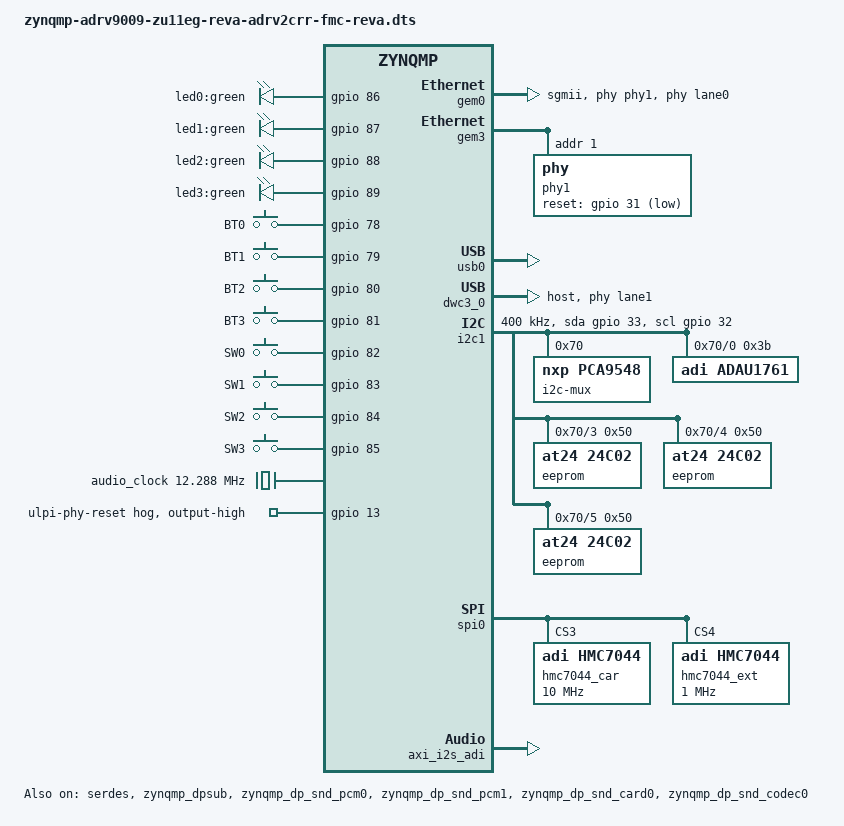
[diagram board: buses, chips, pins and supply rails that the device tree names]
// SPDX-License-Identifier: GPL-2.0
/*
 * ADRV2CRR-FMC using ADRV9009-ZU11EG System on Module
 *
 * https://wiki.analog.com/resources/eval/user-guides/adrv9009
 * https://wiki.analog.com/resources/tools-software/linux-drivers/iio-transceiver/adrv9009
 * https://wiki.analog.com/resources/tools-software/linux-software/adrv9009_advanced_plugin
 * https://wiki.analog.com/resources/eval/user-guides/adrv9009-zu11eg/adrv2crr-fmc_carrier_board
 *
 * hdl_project: <adrv9009zu11eg/adrv2crr_fmc>
 * board_revision: <A>
 *
 * Copyright (C) 2019 Analog Devices Inc.
 */

/*
 * FPGA Signal                GPIO#
 * hmc7044_car_gpio_3,  27    105
 * hmc7044_car_gpio_2,  26    104
 * hmc7044_car_gpio_1,  25    103
 * hmc7044_car_gpio_0,  24    102
 * hmc7044_car_reset,   23    101
 * resetb_ad9545,       22    100
 * fan_tach,            21    99
 * fan_pwrm,            20    98
 * pmod0_d7,            19    97
 * pmod0_d6,            18    96
 * pmod0_d5,            17    95
 * pmod0_d4,            16    94
 * pmod0_d3,            15    93
 * pmod0_d2,            14    92
 * pmod0_d1,            13    91
 * pmod0_d0,            12    90
 * led_gpio_3,          11    89
 * led_gpio_2,          10    88
 * led_gpio_1,          9     87
 * led_gpio_0,          8     86
 * dip_gpio_3,          7     85
 * dip_gpio_2,          6     84
 * dip_gpio_1,          5     83
 * dip_gpio_0,          4     82
 * pb_gpio_3,           3     81
 * pb_gpio_2,           2     80
 * pb_gpio_1,           1     79
 * pb_gpio_0}));        0     78
 */

#include "zynqmp-adrv9009-zu11eg-reva.dtsi"

/ {
	leds {
		compatible = "gpio-leds";
		led0 {
			label = "led0:green";
			gpios = <&gpio 86 0>;
		};

		led1 {
			label = "led1:green";
			gpios = <&gpio 87 0>;
		};

		led2 {
			label = "led2:green";
			gpios = <&gpio 88 0>;
		};

		led3 {
			label = "led3:green";
			gpios = <&gpio 89 0>;
		};
	};

	gpio_keys {
		compatible = "gpio-keys";
		#address-cells = <1>;
		#size-cells = <0>;
		autorepeat;

		bt0 {
			label = "BT0";
			linux,code = <KEY_LEFT>;
			gpios = <&gpio 78 0>;
		};

		bt1 {
			label = "BT1";
			linux,code = <KEY_RIGHT>;
			gpios = <&gpio 79 0>;
		};

		bt2 {
			label = "BT2";
			linux,code = <KEY_ENTER>;
			gpios = <&gpio 80 0>;
		};

		bt3 {
			label = "BT3";
			linux,code = <KEY_ESC>;
			gpios = <&gpio 81 0>;
		};

		sw0 {
			label = "SW0";
			linux,input-type = <EV_SW>;
			linux,code = <SW_LID>;
			gpios = <&gpio 82 0>;
		};

		sw1 {
			label = "SW1";
			linux,input-type = <EV_SW>;
			linux,code = <SW_TABLET_MODE>;
			gpios = <&gpio 83 0>;
		};

		sw2 {
			label = "SW2";
			linux,input-type = <EV_SW>;
			linux,code = <SW_HEADPHONE_INSERT>;
			gpios = <&gpio 84 0>;
		};

		sw3 {
			label = "SW3";
			linux,input-type = <EV_SW>;
			linux,code = <SW_RFKILL_ALL>;
			gpios = <&gpio 85 0>;
		};
	};

	audio_clock: audio_clock {
		compatible = "fixed-clock";
		#clock-cells = <0>;
		clock-frequency = <12288000>;
	};

	talise_sound {
		compatible = "simple-audio-card";
		simple-audio-card,name = "ADRV9009 ZU11EG ADAU1761";
		simple-audio-card,widgets =
			"Microphone", "Mic In",
			"Headphone", "Headphone Out",
			"Line", "Line In",
			"Line", "Line Out";
		simple-audio-card,routing =
			"Line Out", "LOUT",
			"Line Out", "ROUT",
			"Headphone Out", "LHP",
			"Headphone Out", "RHP",
			"Mic In", "MICBIAS",
			"LINN", "Mic In",
			"RINN", "Mic In",
			"LAUX", "Line In",
			"RAUX", "Line In";

		simple-audio-card,dai-link@0 {
			format = "i2s";
			cpu {
				sound-dai = <&axi_i2s_adi>;
				frame-master;
				bitclock-master;
			};
			codec {
				sound-dai = <&adau1761>;
			};
		};
	};
};

&serdes {
	status = "okay";
};


/*
 * SGMII Ethernet: M1 (PHY1)
 * Using gem0, GTR Lane0
 */

&gem0 {
	status = "okay";
	phy-handle = <&phy1>;
	phy-mode = "sgmii";
	phys = <&lane0 PHY_TYPE_SGMII 0 1 125000000>;
};

&gem3 {
	phy1: phy@1 {
		device_type = "ethernet-phy";
		reg = <1>;
		reset-gpios = <&gpio 31 GPIO_ACTIVE_LOW>;
	};
};
/*
 * DisplayPort: P2
 * Using: GTR Lane3, Lane2
 */

&zynqmp_dpsub {
	status = "okay";
	phy-names = "dp-phy0", "dp-phy1";
	phys = <&lane3 PHY_TYPE_DP 0 2 27000000>,
		<&lane2 PHY_TYPE_DP 1 2 27000000>;
};

&zynqmp_dp_snd_pcm0 {
	status = "okay";
};

&zynqmp_dp_snd_pcm1 {
	status = "okay";
};

&zynqmp_dp_snd_card0 {
	status = "okay";
};

&zynqmp_dp_snd_codec0 {
	status = "okay";
};

&xlnx_dpdma {
	status = "okay";
};

/*
 * USB 2.0 & 3.0
 * Using: usb0, dwc3_0 on GTR Lane1
 */

&usb0 {
	status = "okay";
	pinctrl-names = "default";
	pinctrl-0 = <&pinctrl_usb0_default>;
};

&dwc3_0 {
	status = "okay";
	dr_mode = "host";
	phy-names = "usb3-phy";
	//snps,usb3_lpm_capable;
	phys = <&lane1 PHY_TYPE_USB3 0 3 26000000>;
	maximum-speed = "super-speed";
};

&gpio {
	phy_reset {
		gpio-hog;
		gpios = <13 0>;
		output-high;
		line-name = "ulpi-phy-reset";
	};
};

&hmc7044 {
	clocks = <&hmc7044_car 2>;
	clock-names = "clkin1";
};

/*
 * I2C1
 */

&i2c1 {
	status = "okay";
	clock-frequency = <400000>;
	pinctrl-names = "gpio";
	pinctrl-0 = <&pinctrl_i2c1_gpio>;
	scl-gpios = <&gpio 32 GPIO_ACTIVE_HIGH>;
	sda-gpios = <&gpio 33 GPIO_ACTIVE_HIGH>;

	i2c-mux@70 { /* u19 */
		compatible = "nxp,pca9548"; /* TCA9548 */
		#address-cells = <1>;
		#size-cells = <0>;
		reg = <0x70>;

		i2c@0 { /* Audio ADAU1761 */
			#address-cells = <1>;
			#size-cells = <0>;
			reg = <0>;

			adau1761: adau1761@3b {
				compatible = "adi,adau1761";
				reg = <0x3b>;

				clocks = <&audio_clock>;
				clock-names = "mclk";

				#sound-dai-cells = <0>;
			};

		};
		i2c@1 { /* AD9545 */
			#address-cells = <1>;
			#size-cells = <0>;
			reg = <1>;

			/* 4A */

		};
		i2c@2 { /* PTN5150 */
			#address-cells = <1>;
			#size-cells = <0>;
			reg = <2>;

			/* 1D */

		};
		i2c@3 { /* QSFP */
			#address-cells = <1>;
			#size-cells = <0>;
			reg = <3>;

			eeprom@50 {
				compatible = "at24,24c02";
				reg = <0x50>;
			};
		};
		i2c@4 { /* SFP+ */
			#address-cells = <1>;
			#size-cells = <0>;
			reg = <4>;

			eeprom@50 {
				compatible = "at24,24c02";
				reg = <0x50>;
			};

		};
		i2c@5 { /* FMC HPC */
			#address-cells = <1>;
			#size-cells = <0>;
			reg = <5>;

// 			ad7291@2f {
// 				compatible = "adi,ad7291";
// 				reg = <0x2f>;
// 			};

			eeprom@50 {
				compatible = "at24,24c02";
				reg = <0x50>;
			};
		};
	};
};

/*
 * SPI0
 */

&spi0 {
	hmc7044_car: hmc7044-car@3 {
		#address-cells = <1>;
		#size-cells = <0>;
		#clock-cells = <1>;
		compatible = "adi,hmc7044";
		reg = <3>;
		spi-max-frequency = <10000000>;

		adi,pll1-clkin-frequencies = <0 30720000 0 19200000>;
		adi,pll1-ref-prio-ctrl = <0x8D>; /* CLKIN1 -> CLKIN3 -> CLKIN0 -> CLKIN2 */
		adi,pll1-ref-autorevert-enable;

		adi,pll1-loop-bandwidth-hz = <200>;
		adi,pfd1-maximum-limit-frequency-hz = <30720000>;
		adi,pll1-charge-pump-current-ua = <1920>;

		adi,vcxo-frequency = <122880000>;

		adi,pll2-output-frequency = <2949120000>;

		adi,sysref-timer-divider = <3840>;
		adi,pulse-generator-mode = <HMC7044_PULSE_GEN_1_PULSE>;

		adi,oscin-buffer-mode = <0x15>;
		adi,clkin1-buffer-mode = <0x07>; // 100term, ac coupling
		adi,clkin3-buffer-mode = <0x11>;
		adi,sync-pin-mode = <1>;

		adi,gpi-controls = <0x00 0x00 0x00 0x11>;
		adi,gpo-controls = <0x1f 0x2b 0x00 0x00>;

		clock-output-names =
			"hmc7044_c_out0_REFCLK_OUT0", "hmc7044_c_out1",
			"hmc7044_c_out2_REFCLK_OUT2", "hmc7044_c_out3",
			"hmc7044_c_out4", "hmc7044_c_out5_SYNC_OUT1",
			"hmc7044_c_out6_SYNC_OUT2", "hmc7044_c_out7",
			"hmc7044_c_out8_REFCLK_OUT3","hmc7044_c_out9_REFCLK_OUT4",
			"hmc7044_c_out10_REFCLK_QSFP", "hmc7044_c_out11_REFCLK_SFP",
			"hmc7044_c_out12", "hmc7044_c_out13";

		hmc7044_car_c0: channel@0 {
			reg = <0>;
			adi,extended-name = "REFCLK_OUT0";
			adi,divider = <96>;     // 3072000
			adi,driver-mode = <HMC7044_DRIVER_MODE_LVDS>;
               };

		hmc7044_car_c2: channel@2 {
			reg = <2>;
			adi,extended-name = "REFCLK_OUT2";
			adi,divider = <96>;	// 3072000
			adi,driver-mode = <HMC7044_DRIVER_MODE_LVPECL>;
		};

		hmc7044_car_c5: channel@5 {
			reg = <5>;
			adi,extended-name = "SYNC_OUT1";
			adi,divider = <3840>;	// 768000
			adi,driver-mode = <3>;
			adi,startup-mode-dynamic-enable;
			adi,high-performance-mode-disable;
			adi,driver-impedance-mode = <3>;
		};

		hmc7044_car_c6: channel@6 {
			reg = <6>;
			adi,extended-name = "SYNC_OUT2";
			adi,divider = <3840>;	// 768000
			adi,driver-mode = <3>;
			adi,startup-mode-dynamic-enable;
			adi,high-performance-mode-disable;
			adi,driver-impedance-mode = <3>;

		};

		hmc7044_car_c8: channel@8 {
			reg = <8>;
			adi,extended-name = "REFCLK_OUT3";
			adi,divider = <96>;	// 3072000
			adi,driver-mode = <HMC7044_DRIVER_MODE_LVDS>;
		};

		hmc7044_car_c9: channel@9 {
			reg = <9>;
			adi,extended-name = "REFCLK_OUT4";
			adi,divider = <96>;	// 3072000
			adi,driver-mode = <HMC7044_DRIVER_MODE_LVPECL>;
		};

		hmc7044_car_c10: channel@10 {
			reg = <10>;
			adi,extended-name = "REFCLK_QSFP";
			adi,divider = <96>;	// 3072000
			adi,driver-mode = <HMC7044_DRIVER_MODE_LVPECL>;
		};

		hmc7044_car_c11: channel@11 {
			reg = <11>;
			adi,extended-name = "REFCLK_SFP";
			adi,divider = <24>;	// 12288000
			adi,driver-mode = <HMC7044_DRIVER_MODE_LVPECL>;
		};
	};
};

&fpga_axi {
	i2s_tx_dma: dma@81001000  {
		compatible = "adi,axi-dmac-1.00.a";
		reg = <0x0 0x81001000 0x1000>;
		#dma-cells = <1>;
		#clock-cells = <0>;
		interrupts = <0 95 IRQ_TYPE_LEVEL_HIGH>;
		clocks = <&zynqmp_clk 73>;

		adi,channels {
			#size-cells = <0>;
			#address-cells = <1>;

			dma-channel@0 {
				reg = <0>;
				adi,source-bus-width = <64>;
				adi,source-bus-type = <0>;
				adi,destination-bus-width = <32>;
				adi,destination-bus-type = <1>;
			};
		};
	};

	i2s_rx_dma: dma@81000000  {
		compatible = "adi,axi-dmac-1.00.a";
		reg = <0x0 0x81000000 0x1000>;
		#dma-cells = <1>;
		#clock-cells = <0>;
		interrupts = <0 96 IRQ_TYPE_LEVEL_HIGH>;
		clocks = <&zynqmp_clk 73>;

		adi,channels {
			#size-cells = <0>;
			#address-cells = <1>;

			dma-channel@0 {
				reg = <0>;
				adi,source-bus-width = <32>;
				adi,source-bus-type = <1>;
				adi,destination-bus-width = <64>;
				adi,destination-bus-type = <0>;
			};
		};
	};

	axi_i2s_adi: axi-i2s-adi@82000000 {
		compatible = "adi,axi-i2s-1.00.a";
		reg = <0x0 0x82000000 0x10000>;
		dmas = <&i2s_tx_dma 0 &i2s_rx_dma 0>;
		dma-names = "tx", "rx";
		clocks = <&zynqmp_clk 73>, <&audio_clock>;
		clock-names = "axi", "ref";

		#sound-dai-cells = <0>;
	};
};

&spi0 {
	hmc7044_ext: hmc7044-ext@4 {
		#address-cells = <1>;
		#size-cells = <0>;
		#clock-cells = <1>;
		compatible = "adi,hmc7044";
		reg = <4>;
		spi-max-frequency = <1000000>;

		adi,pll1-clkin-frequencies = <0 30720000 0 0>;

		adi,pll1-loop-bandwidth-hz = <200>;
		adi,pfd1-maximum-limit-frequency-hz = <3840000>;

		adi,vcxo-frequency = <122880000>;

		adi,pll2-output-frequency = <2949120000>;

		adi,sysref-timer-divider = <3840>;
		adi,pulse-generator-mode = <HMC7044_PULSE_GEN_1_PULSE>;

		adi,oscin-buffer-mode = <0x15>;
		adi,clkin1-buffer-mode = <0x07>;
		adi,sync-pin-mode = <1>;

		adi,gpi-controls = <0x00 0x00 0x00 0x00>;
		adi,gpo-controls = <0x1f 0x2b 0x00 0x00>;

		clock-output-names =
			"hmc7044_e_out0_REFCLK_OUT0", "hmc7044_e_out1",
			"hmc7044_e_out2_REFCLK_OUT2", "hmc7044_e_out3",
			"hmc7044_e_out4", "hmc7044_e_out5_SYNC_OUT1",
			"hmc7044_e_out6_SYNC_OUT2", "hmc7044_e_out7",
			"hmc7044_e_out8","hmc7044_e_out9",
			"hmc7044_e_out10", "hmc7044_e_out11_REFCLK_SFP",
			"hmc7044_e_out12", "hmc7044_e_out13";

		hmc7044_ext_c0: channel@0 {
			reg = <0>;
			adi,extended-name = "REFCLK_OUT0";
			adi,divider = <96>;	// 3072000
			adi,driver-mode = <HMC7044_DRIVER_MODE_LVPECL>;
		};

		hmc7044_ext_c2: channel@2 {
			reg = <2>;
			adi,extended-name = "REFCLK_OUT2";
			adi,divider = <96>;	// 3072000
			adi,driver-mode = <HMC7044_DRIVER_MODE_LVPECL>;
		};

		hmc7044_ext_c5: channel@5 {
			reg = <5>;
			adi,extended-name = "SYNC_OUT1";
			adi,divider = <3840>;	// 768000
			adi,driver-mode = <HMC7044_DRIVER_MODE_CMOS>;
			adi,startup-mode-dynamic-enable;
			adi,high-performance-mode-disable;
			adi,driver-impedance-mode = <3>; /* Don't touch */
		};

		hmc7044_ext_c6: channel@6 {
			reg = <6>;
			adi,extended-name = "SYNC_OUT2";
			adi,divider = <3840>;	// 768000
			adi,driver-mode = <HMC7044_DRIVER_MODE_CMOS>;
			adi,startup-mode-dynamic-enable;
			adi,high-performance-mode-disable;
			adi,driver-impedance-mode = <3>; /* Don't touch */
		};

		hmc7044_ext_c11: channel@11 {
			reg = <11>;
			adi,extended-name = "REFCLK_SFP";
			adi,divider = <24>;	// 12288000
			adi,driver-mode = <HMC7044_DRIVER_MODE_LVPECL>;
		};
	};
};
